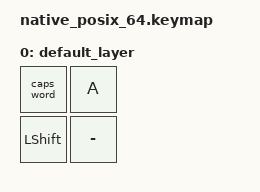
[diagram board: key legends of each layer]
#include <dt-bindings/zmk/keys.h>
#include <behaviors.dtsi>
#include <dt-bindings/zmk/kscan_mock.h>
#include "../behavior_keymap.dtsi"

/ {
    keymap {
        compatible = "zmk,keymap";

        default_layer {
            bindings = <
            &caps_word &kp A
            &kp LSHFT &kp MINUS
            >;
        };
    };
};

&caps_word {
    continue-list = <UNDERSCORE BACKSPACE DELETE>;
    /delete-property/ shift-list;
};

&kscan {
    events = <
    ZMK_MOCK_PRESS(0,0,10)
    ZMK_MOCK_RELEASE(0,0,10)
    ZMK_MOCK_PRESS(0,1,10)
    ZMK_MOCK_RELEASE(0,1,10)
    ZMK_MOCK_PRESS(1,0,10)
    ZMK_MOCK_PRESS(1,1,10)
    ZMK_MOCK_RELEASE(1,1,10)
    ZMK_MOCK_RELEASE(1,0,10)
    ZMK_MOCK_PRESS(0,1,10)
    ZMK_MOCK_RELEASE(0,1,10)
    >;
};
